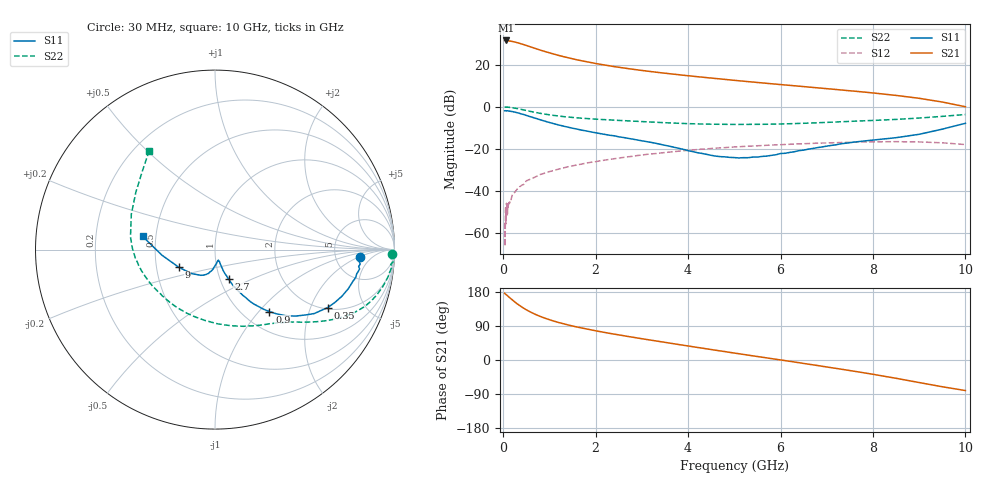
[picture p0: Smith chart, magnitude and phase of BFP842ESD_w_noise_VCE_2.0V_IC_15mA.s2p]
! Infineon Technologies  Discrete & RF Semiconductors
! BFP842ESD
! VCE =  2.0 V,  IC =  15 mA
! Common Emitter S-Parameters:  May 2012
# GHz  S  MA  R  50
!  f  S11  S21  S12  S22
! GHz  MAG  ANG  MAG  ANG  MAG  ANG  MAG  ANG
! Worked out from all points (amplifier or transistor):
!   99 points, 30 MHz to 10 GHz, reference 50 ohm
!   highest |S21| = 31.5 dB at 60 MHz (marker M1)
!   |S21| within 3 dB of that: start of sweep to 584.1 MHz
!   unconditionally stable (mu >= 1): 2.421 GHz to end of sweep
!   at 350 MHz: K = 0.34, MSG = 34.1 dB, |S12| = -37.9 dB
!   at 3.5 GHz: K = 1.06, MAG = 17.3 dB, |S12| = -21.6 dB
!   at 10 GHz: K = 1.84, MAG = 3.7 dB, |S12| = -17.8 dB
!   lowest NFmin = 0.71 dB at 450 MHz
!   S11 on the Smith chart (normalised r, x): 30 MHz: 9.04, -2.08; 350 MHz: 2.07, -2.66; 900 MHz: 1.30, -1.14; 2.7 GHz: 1.10, -0.37; 9 GHz: 0.65, -0.14; 10 GHz: 0.42, +0.07
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0.03  0.8099 -2.8  37.56 176.3  0.0018 -97.1  0.9854 -1.5
0.04  0.8127 -3.4  37.44 175.1  0.0005 108.9  0.9879 -1.8
0.05  0.8156 -4.2  37.14 173.8  0.0041 114.1  0.9881 -2.5
0.06  0.8042 -4.5  37.66 172.8  0.0017 -75.7  0.9827 -2.9
0.07  0.8134 -5.7  37.24 171.9  0.0052 116.9  0.9947 -4.0
0.15  0.7897 -12.7  36.48 163.3  0.0054 78.8  0.9733 -9.5
0.25  0.7532 -20.2  34.7 153.3  0.0095 76.4  0.9373 -15.5
0.35  0.706 -27.2  32.34 144.2  0.0127 76.4  0.8936 -20.7
0.45  0.6577 -32.8  29.8 136.1  0.0147 72.1  0.8463 -24.8
0.6  0.5815 -39.6  26.3 125.9  0.0196 69.6  0.7787 -29.7
0.8  0.4962 -46.2  22.29 115.0  0.025 64.5  0.7058 -34.6
0.9  0.4597 -48.7  20.62 110.5  0.0269 63.5  0.6758 -36.6
1.2  0.3737 -54.4  16.64 98.9  0.0335 60.9  0.6087 -41.5
1.7  0.2811 -59.5  12.41 84.5  0.0443 55.9  0.5395 -48.9
2.1  0.233 -62.7  10.26 74.8  0.0529 52.1  0.5054 -55.4
2.7  0.1802 -65.1  8.105 62.1  0.0658 46.2  0.4673 -65.5
3.4  0.13 -68.4  6.488 48.5  0.0807 37.7  0.4276 -80.4
5.1  0.0618 -72.6  4.173 16.5  0.114 15.6  0.3848 -122.9
6.7  0.1037 -94.3  2.902 -12.7  0.137 -7.2  0.4171 -159.3
8.5  0.1866 -134.3  1.877 -48.3  0.1502 -37.8  0.5061 157.1
9  0.2245 -154.0  1.6 -59.5  0.1479 -48.1  0.5449 144.0
10  0.4092 169.7  1.01 -80.6  0.1281 -69.3  0.661 123.7
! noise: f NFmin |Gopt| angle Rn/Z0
0.45  0.71  0.03  -24  0.09
0.9  0.71  0.02  -61  0.08
1.5  0.73  0.03  -97  0.08
1.9  0.73  0.04  -116  0.08
2.4  0.73  0.06  -122  0.08
3.5  0.8  0.08  -128  0.08
4  0.83  0.09  -124  0.09
5  0.9  0.13  -112  0.09
5.5  1.01  0.15  -109  0.1
6  1.11  0.15  -106  0.11
